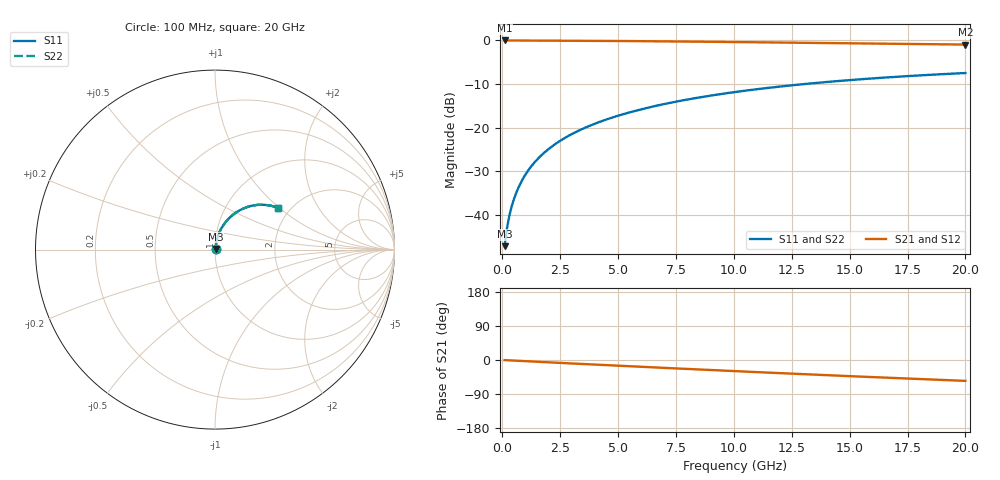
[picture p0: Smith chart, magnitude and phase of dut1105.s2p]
! Touchstone file exported from HFSS 2026.1.0
!  File:  C:/ffzhzh/LocalFiles/Ansys_Project_Files/temp_train_TMRDL_1105_1783161339_22436.aedt
!  Generated:  06:37:02 PM Jul  4, 2026
!  Design:  TMRDL
!  Project:  temp_train_TMRDL_1105_1783161339_22436
! Variables:
!  h_bsmrdl = 2um
!  h_ox = 20um
!  h_rdl = 5um
!  h_sub = 80um
!  h_tmrdl = 4.64um
!  h_tsv = 80um
!  h_via = 3um
!  l_bsmrdl = 300um
!  l_sub = 1274.58um
!  l_tmrdl = 874.58um
!  m_sub = 200um
!  pitch = 48.65um
!  r_tsv = 6um
!  s_tmrdl = 10um
!  w_bsmrdl = 18um
!  w_sub = 500um
!  w_tmrdl = 23.77um
!  x_tsv_center1 = 886.465um
!  x_tsv_center2 = 1204.465um
!  x_tsv_center3 = 2102.815um
!  x_tsv_center4 = 2420.815um
!  x_tsv_center5 = 3319.165um
!  x_tsv_center6 = 3637.165um
# GHz S MA R 50.000000
! Terminal data exported
! Port[1] = TM_RDL1_1_T1
! Port[2] = TM_RDL1_1_T2
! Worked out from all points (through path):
!   200 points, 100 MHz to 20 GHz, reference 50 ohm
!   highest |S21| = -0.03 dB at 100 MHz (marker M1); lowest = -1.0 dB at 20 GHz (marker M2)
!   group delay of S21, straight-line fit = 7.65 ps
!   lowest |S11| = -47.2 dB at 100 MHz (marker M3), VSWR 1.01, Z = 50.3 + j0.315 ohm
!   |S11| at or under -10 dB: start of sweep to 13.09 GHz
!   |S22| runs from -47.2 to -7.5 dB; largest |S21 - S12| = 8e-15
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0.1  0.004358 46.0  0.997 -0.3  0.997 -0.3  0.004358 46.0
! Gamma 0 0 0 0
! Port Impedance 50 0 50 0
0.2  0.006927 61.5  0.9967 -0.6  0.9967 -0.6  0.006927 61.5
0.3  0.009603 68.2  0.9965 -0.9  0.9965 -0.9  0.009603 68.2
0.4  0.0123 72.0  0.9964 -1.2  0.9964 -1.2  0.0123 72.0
0.5  0.01502 74.4  0.9962 -1.6  0.9962 -1.6  0.01502 74.4
0.6  0.01777 76.1  0.9961 -1.9  0.9961 -1.9  0.01777 76.1
0.8  0.0233 78.1  0.9959 -2.5  0.9959 -2.5  0.0233 78.1
1.1  0.03166 79.4  0.9955 -3.4  0.9955 -3.4  0.03166 79.4
1.5  0.04282 79.7  0.9948 -4.6  0.9948 -4.6  0.04282 79.7
1.8  0.05117 79.5  0.9942 -5.5  0.9942 -5.5  0.05117 79.5
2.1  0.05948 79.0  0.9935 -6.4  0.9935 -6.4  0.05948 79.0
2.7  0.07593 77.8  0.9919 -8.2  0.9919 -8.2  0.07593 77.8
3.5  0.09749 75.9  0.9893 -10.6  0.9893 -10.6  0.09749 75.9
4.2  0.116 74.0  0.9866 -12.7  0.9866 -12.7  0.116 74.0
5  0.1366 71.9  0.9832 -15.0  0.9832 -15.0  0.1366 71.9
5.9  0.1593 69.4  0.9791 -17.7  0.9791 -17.7  0.1593 69.4
6.8  0.1813 67.0  0.9746 -20.2  0.9746 -20.2  0.1813 67.0
8.3  0.2166 62.9  0.9665 -24.5  0.9665 -24.5  0.2166 62.9
10.1  0.2564 58.1  0.956 -29.5  0.956 -29.5  0.2564 58.1
13.4  0.3219 49.5  0.9351 -38.4  0.9351 -38.4  0.3219 49.5
16.7  0.377 41.3  0.914 -46.9  0.914 -46.9  0.377 41.3
20  0.4218 33.3  0.8942 -55.1  0.8942 -55.1  0.4217 33.3
